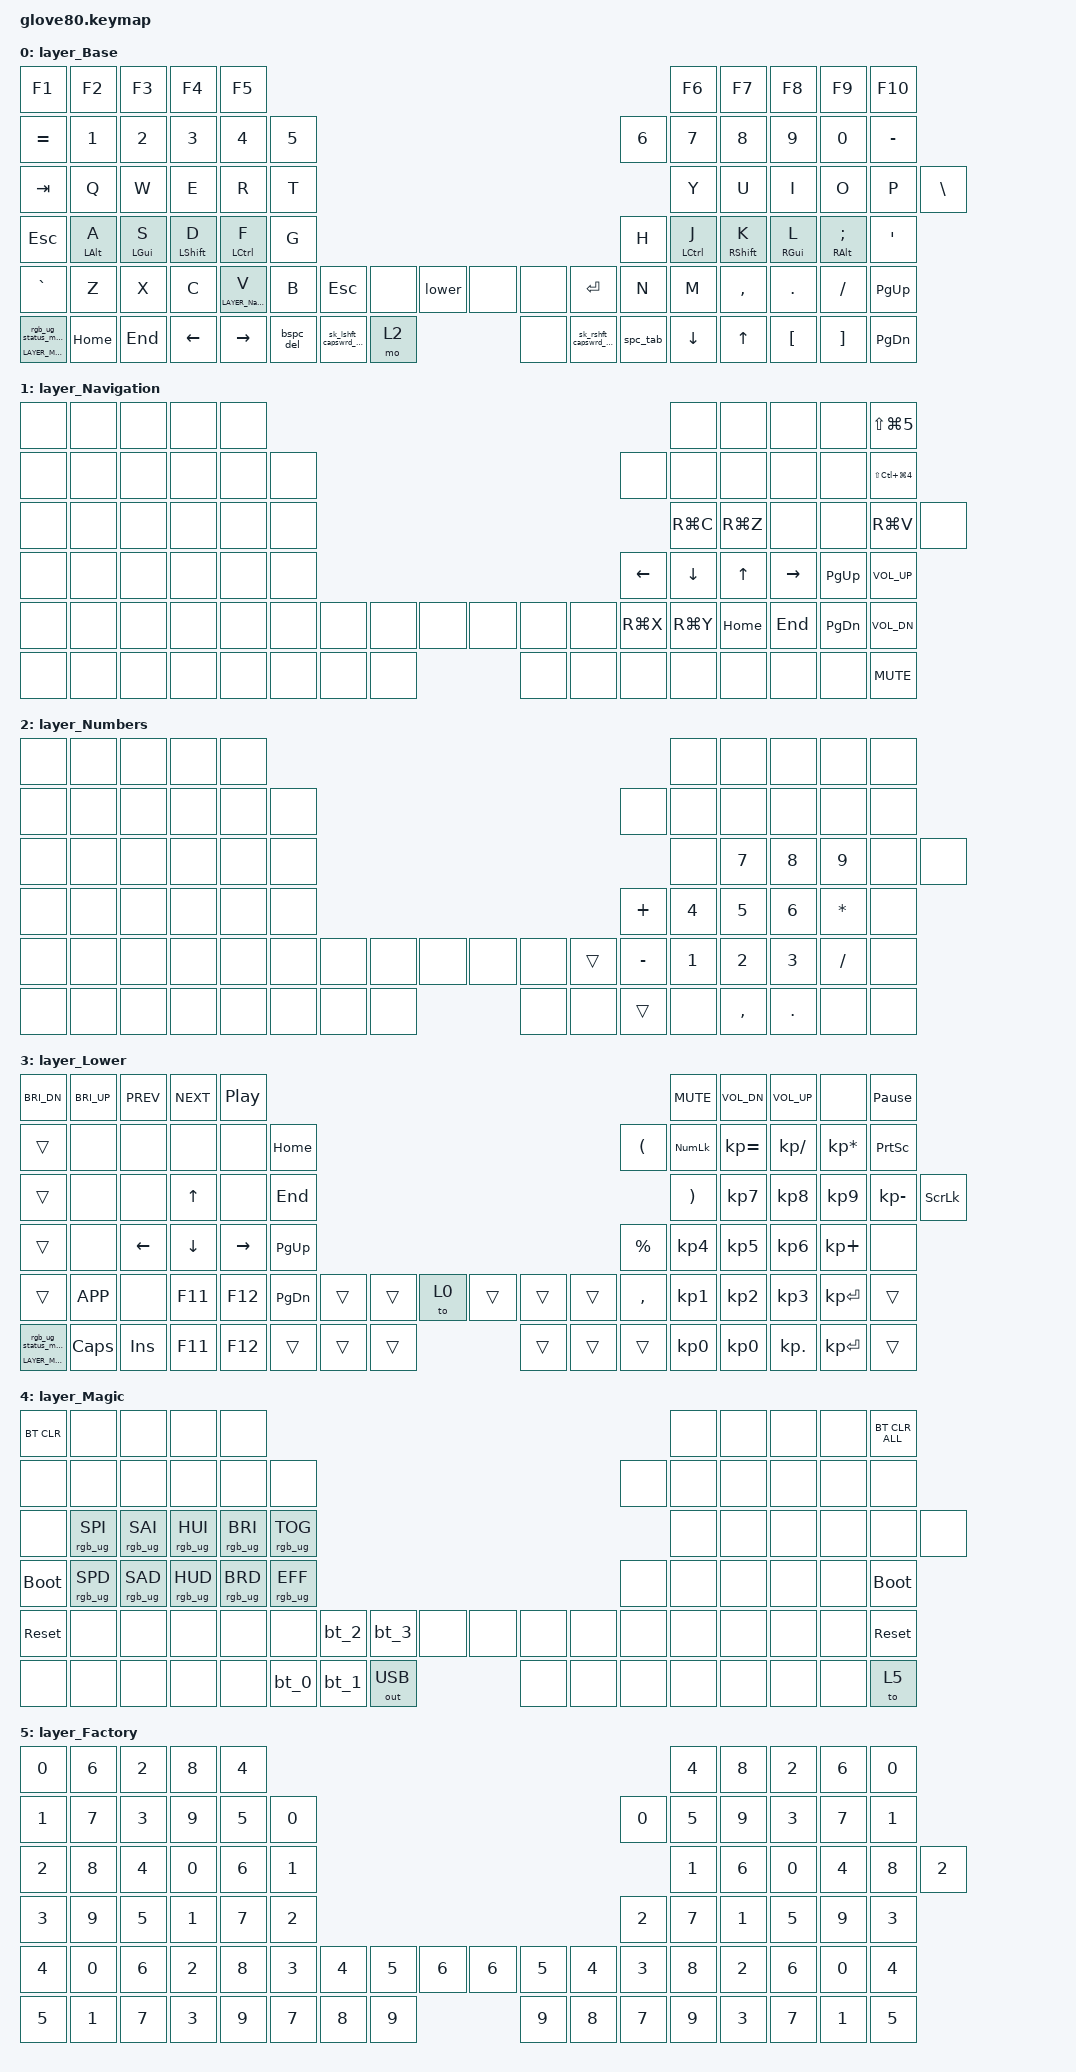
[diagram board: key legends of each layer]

/*
 * Copyright (c) 2020 The ZMK Contributors
 * Copyright (c) 2023 Innaworks Development Limited, trading as MoErgo
 *
 * SPDX-License-Identifier: MIT
 */


/* THIS FILE WAS GENERATED BY GLOVE80 LAYOUT EDITOR
 *
 * This file was generated automatically. You may or may not want to
 * edit it directly.
 */

#include <behaviors.dtsi>
/* Include all behavior includes needed */
#include <dt-bindings/zmk/outputs.h>
#include <dt-bindings/zmk/keys.h>
#include <dt-bindings/zmk/bt.h>
#include <dt-bindings/zmk/rgb.h>

/* Automatically generated layer name #define */
#define LAYER_Base 0
#define LAYER_Navigation 1
#define LAYER_Numbers 2
#define LAYER_Lower 3
#define LAYER_Magic 4
#define LAYER_Factory 5

/* To deal with the situation where there is no Lower layer, to keep &lower happy */
#ifndef LAYER_Lower
#define LAYER_Lower 0
#endif

/* Custom Device-tree */
//////////////////////////////////////////////////////////////////////////////
//
// ZMK Nodefree Config - Helper
// Urob - https://github.com/urob/zmk-nodefree-config// - https://github.com/urob/zmk-nodefree-config/blob/main/helper.h
//
//////////////////////////////////////////////////////////////////////////////
/*
 * helper.h
 *
 * Convenience macros simplifying ZMK's keymap configuration.
 * See https://github.com/urob/zmk-nodefree-config for documentation.
 */

#define ZMK_HELPER_STRINGIFY(x) #x

/* ZMK_BEHAVIOR */

#define ZMK_BEHAVIOR_CORE_caps_word       compatible = "zmk,behavior-caps-word";       #binding-cells = <0>
#define ZMK_BEHAVIOR_CORE_dynamic_macro   compatible = "zmk,behavior-dynamic-macro";   #binding-cells = <1>
#define ZMK_BEHAVIOR_CORE_hold_tap        compatible = "zmk,behavior-hold-tap";        #binding-cells = <2>
#define ZMK_BEHAVIOR_CORE_key_repeat      compatible = "zmk,behavior-key-repeat";      #binding-cells = <0>
#define ZMK_BEHAVIOR_CORE_macro           compatible = "zmk,behavior-macro";           #binding-cells = <0>
#define ZMK_BEHAVIOR_CORE_macro_one_param compatible = "zmk,behavior-macro-one-param"; #binding-cells = <1>
#define ZMK_BEHAVIOR_CORE_macro_two_param compatible = "zmk,behavior-macro-two-param"; #binding-cells = <2>
#define ZMK_BEHAVIOR_CORE_mod_morph       compatible = "zmk,behavior-mod-morph";       #binding-cells = <0>
#define ZMK_BEHAVIOR_CORE_sticky_key      compatible = "zmk,behavior-sticky-key";      #binding-cells = <1>
#define ZMK_BEHAVIOR_CORE_tap_dance       compatible = "zmk,behavior-tap-dance";       #binding-cells = <0>
#define ZMK_BEHAVIOR_CORE_tri_state       compatible = "zmk,behavior-tri-state";       #binding-cells = <0>

#define ZMK_BEHAVIOR(name, type, ...) \
    / { \
        behaviors { \
            name: name { \
                label = ZMK_HELPER_STRINGIFY(ZB_ ## name); \
                ZMK_BEHAVIOR_CORE_ ## type; \
                __VA_ARGS__ \
            }; \
        }; \
    };

/* ZMK_LAYER */

#define MACRO_CHOOSER3(_1, _2, _3, FUNC, ...) FUNC
#define ZMK_LAYER(...) MACRO_CHOOSER3(__VA_ARGS__, ZMK_LAYER_3_ARGS, ZMK_LAYER_2_ARGS)(__VA_ARGS__)
#define ZMK_LAYER_2_ARGS(name, layout) \
    / { \
        keymap { \
            compatible = "zmk,keymap"; \
            layer_ ## name { \
                label = ZMK_HELPER_STRINGIFY(name); \
                bindings = <layout>; \
            }; \
        }; \
    };
#define ZMK_LAYER_3_ARGS(name, layout, sensors) \
    / { \
        keymap { \
            compatible = "zmk,keymap"; \
            layer_ ## name { \
                label = ZMK_HELPER_STRINGIFY(name); \
                bindings = <layout>; \
                sensor-bindings = <sensors>; \
            }; \
        }; \
    };

/* ZMK_COMBOS */

#define ALL 0xff
#if !defined COMBO_TERM
    #define COMBO_TERM 30
#endif
#if !defined COMBO_HOOK
    #define COMBO_HOOK
#endif

#define MACRO_CHOOSER5(_1, _2, _3, _4, _5, FUNC, ...) FUNC
#define ZMK_COMBO(...) MACRO_CHOOSER5(__VA_ARGS__, ZMK_COMBO_5_ARGS, ZMK_COMBO_4_ARGS)(__VA_ARGS__)
#define ZMK_COMBO_4_ARGS(name, combo_bindings, keypos, combo_layers) \
    ZMK_COMBO_5_ARGS(name, combo_bindings, keypos, combo_layers, COMBO_TERM)
#define ZMK_COMBO_5_ARGS(name, combo_bindings, keypos, combo_layers, combo_timeout) \
    / { \
        combos { \
            compatible = "zmk,combos"; \
            combo_ ## name { \
                timeout-ms = <combo_timeout>; \
                bindings = <combo_bindings>; \
                key-positions = <keypos>; \
                layers = <combo_layers>; \
                COMBO_HOOK \
            }; \
        }; \
    };

/* ZMK_CONDITIONAL_LAYER */

#define ZMK_CONDITIONAL_LAYER(if_layers, then_layer) \
    / { \
        conditional_layers { \
            compatible = "zmk,conditional-layers"; \
            tri_layer { \
                if-layers = <if_layers>; \
                then-layer = <then_layer>; \
            }; \
        }; \
    };

/* ZMK_UNICODE */

#if !defined OS_UNICODE_LEAD
    #if HOST_OS == 2
        #define OS_UNICODE_LEAD &macro_press &kp LALT      // macOS/Windows-Alt-Codes
    #elif HOST_OS == 1
        #define OS_UNICODE_LEAD &macro_tap &kp LS(LC(U))   // Linux
    #else
        #define OS_UNICODE_LEAD &macro_tap &kp RALT &kp U  // Windows + WinCompose (default)
    #endif
#endif
#if !defined OS_UNICODE_TRAIL
    #if HOST_OS == 2
        #define OS_UNICODE_TRAIL &macro_release &kp LALT  // macOS/Windows-Alt-Codes
    #elif HOST_OS == 1
        #define OS_UNICODE_TRAIL &macro_tap &kp SPACE     // Linux
    #else
        #define OS_UNICODE_TRAIL &macro_tap &kp RET       // Windows + WinCompose (default)
    #endif
#endif

#define UC_MACRO(name, unicode_bindings) \
    / { \
        macros { \
            name: name { \
                compatible = "zmk,behavior-macro"; \
                label = ZMK_HELPER_STRINGIFY(UC_MACRO_ ## name); \
                wait-ms = <0>; \
                tap-ms = <0>; \
                #binding-cells = <0>; \
                bindings = <OS_UNICODE_LEAD>, <&macro_tap unicode_bindings>, <OS_UNICODE_TRAIL>; \
            }; \
        }; \
    };

#define UC_MODMORPH(name, uc_binding, shifted_uc_binding) \
    / { \
        behaviors { \
            name: name { \
                compatible = "zmk,behavior-mod-morph"; \
                label = ZMK_HELPER_STRINGIFY(UC_MORPH_ ## name); \
                #binding-cells = <0>; \
                bindings = <uc_binding>, <shifted_uc_binding>; \
                mods = <(MOD_LSFT|MOD_RSFT)>; \
            }; \
        }; \
    };

#define ZMK_UNICODE_SINGLE(name, L0, L1, L2, L3) \
    UC_MACRO(name ## _lower, &kp L0 &kp L1 &kp L2 &kp L3) \
    UC_MODMORPH(name, &name ## _lower, &none)

#define ZMK_UNICODE_PAIR(name, L0, L1, L2, L3, U0, U1, U2, U3) \
    UC_MACRO(name ## _lower, &kp L0 &kp L1 &kp L2 &kp L3) \
    UC_MACRO(name ## _upper, &kp U0 &kp U1 &kp U2 &kp U3) \
    UC_MODMORPH(name, &name ## _lower, &name ## _upper)

// END OF ZMK Nodefree Config - Helper //////////////////////////////////////////////////////////////////////////////

//////////////////////////////////////////////////////////////////////////////
//
// New Behaviors
//
//////////////////////////////////////////////////////////////////////////////
ZMK_BEHAVIOR(skq, sticky_key,
    bindings = <&kp>;
    release-after-ms = <1000>;
    quick-release;
)

//////////////////////////////////////////////////////////////////////////////
//
// Combos Macros (for defining Symbols combos)
//
//////////////////////////////////////////////////////////////////////////////
#define COMBO_SLOW 50
#define COMBO_NORM 35
#define COMBO_FAST 20

/* Symbols Combos ****************************************/ 
#define TWOK_COMBO(name, keypos, bind_key, timeout) \
    ZMK_COMBO(name, &kp bind_key, keypos (keypos+1), ALL, timeout)

#define TWOK_COMBOEX(name, keypos, bindings, timeout) \
    ZMK_COMBO(name, bindings, keypos (keypos+1), ALL, timeout)
 
#define THREEK_COMBOEX(name, keypos, bindings, timeout) \
    ZMK_COMBO(name, bindings, keypos (keypos+1) (keypos+2), ALL, timeout)

#define TWOK_COMBO_SHIFTED(name, key_pos, base_key, shifted_key, timeout) \
    TWOK_COMBOEX(name, key_pos, &name, timeout) \
    ZMK_BEHAVIOR(name, mod_morph, \
        bindings = <&kp base_key>, <&kp shifted_key>; \
        mods = <(MOD_LSFT|MOD_RSFT)>; \
    )
 
#define TWOK_COMBOEX_SHIFTED(name, key_pos, base_bind, shifted_bind, timeout) \
    TWOK_COMBOEX(name, key_pos, &name, timeout) \
    ZMK_BEHAVIOR(name, mod_morph, \
        bindings = <&base_bind>, <&shifted_bind>; \
        mods = <(MOD_LSFT|MOD_RSFT)>; \
    )

// END OF Combos Definition Macros (for Symbols) //////////////////////////////////////////////////////////////////////////////

    //
    // Glove80 key positions index for positional hold-tap
    // - https://discord.com/channels/877392805654306816/937645688244826154/1066713913351221248
    // - https://media.discordapp.net/attachments/937645688244826154/1066713913133121556/image.png
    //
    // |------------------------|------------------------|
    // | LEFT_HAND_KEYS         |        RIGHT_HAND_KEYS |
    // |                        |                        |
    // |  0  1  2  3  4         |          5  6  7  8  9 |
    // | 10 11 12 13 14 15      |      16 17 18 19 20 21 |
    // | 22 23 24 25 26 27      |      28 29 30 31 32 33 |
    // | 34 35 36 37 38 39      |      40 41 42 43 44 45 |
    // | 46 47 48 49 50 51      |      58 59 60 61 62 63 |
    // | 64 65 66 67 68         |         75 76 77 78 79 |
    // |                69 52   |   57 74                |
    // |                 70 53  |  56 73                 |
    // |                  71 54 | 55 72                  |
    // |------------------------|------------------------|
    //
    #define LEFT_HAND_KEYS      \
          0  1  2  3  4         \
         10 11 12 13 14 15      \
         22 23 24 25 26 27      \
         34 35 36 37 38 39      \
         46 47 48 49 50 51      \
         64 65 66 67 68
    #define RIGHT_HAND_KEYS     \
                                           5  6  7  8  9 \
                                       16 17 18 19 20 21 \
                                       28 29 30 31 32 33 \
                                       40 41 42 43 44 45 \
                                       58 59 60 61 62 63 \
                                          75 76 77 78 79
    #define THUMB_KEYS          \
                        69 52       57 74                \
                         70 53     56 73                 \
                          71 54   55 72



/* Glove80 system behavior & macros */
/ {
    behaviors {
        // For the "layer" key, it'd nice to be able to use it as either a shift or a toggle.
        // Configure it as a tap dance, so the first tap (or hold) is a &mo and the second tap is a &to
        lower: lower {
            compatible = "zmk,behavior-tap-dance";
            label = "LAYER_TAP_DANCE";
            #binding-cells = <0>;
            tapping-term-ms = <200>;
            bindings = <&mo LAYER_Lower>, <&to LAYER_Lower>;
        };
    };
};

/ {
    macros {
        rgb_ug_status_macro: rgb_ug_status_macro {
            label = "RGB_UG_STATUS";
            compatible = "zmk,behavior-macro";
            #binding-cells = <0>;
            bindings
                = <&rgb_ug RGB_STATUS>;
        };
    };
};


/ {
#ifdef BT_DISC_CMD
    behaviors {
        bt_0: bt_0 {
            compatible = "zmk,behavior-tap-dance";
            label = "BT_0";
            #binding-cells = <0>;
            tapping-term-ms = <200>;
            bindings = <&bt_select_0>, <&bt BT_DISC 0>;
        };
        bt_1: bt_1 {
            compatible = "zmk,behavior-tap-dance";
            label = "BT_1";
            #binding-cells = <0>;
            tapping-term-ms = <200>;
            bindings = <&bt_select_1>, <&bt BT_DISC 1>;
        };
        bt_2: bt_2 {
            compatible = "zmk,behavior-tap-dance";
            label = "BT_2";
            #binding-cells = <0>;
            tapping-term-ms = <200>;
            bindings = <&bt_select_2>, <&bt BT_DISC 2>;
        };
        bt_3: bt_3 {
            compatible = "zmk,behavior-tap-dance";
            label = "BT_3";
            #binding-cells = <0>;
            tapping-term-ms = <200>;
            bindings = <&bt_select_3>, <&bt BT_DISC 3>;
        };
    };
    macros {
        bt_select_0: bt_select_0 {
            label = "BT_SELECT_0";
            compatible = "zmk,behavior-macro";
            #binding-cells = <0>;
            bindings
                = <&out OUT_BLE>,
                  <&bt BT_SEL 0>;
        };
        bt_select_1: bt_select_1 {
            label = "BT_SELECT_1";
            compatible = "zmk,behavior-macro";
            #binding-cells = <0>;
            bindings
                = <&out OUT_BLE>,
                  <&bt BT_SEL 1>;
        };
        bt_select_2: bt_select_2 {
            label = "BT_SELECT_2";
            compatible = "zmk,behavior-macro";
            #binding-cells = <0>;
            bindings
                = <&out OUT_BLE>,
                  <&bt BT_SEL 2>;
        };
        bt_select_3: bt_select_3 {
            label = "BT_SELECT_3";
            compatible = "zmk,behavior-macro";
            #binding-cells = <0>;
            bindings
                = <&out OUT_BLE>,
                  <&bt BT_SEL 3>;
        };
    };
#else
    macros {
        bt_0: bt_0 {
            label = "BT_0";
            compatible = "zmk,behavior-macro";
            #binding-cells = <0>;
            bindings
                = <&out OUT_BLE>,
                  <&bt BT_SEL 0>;
        };
        bt_1: bt_1 {
            label = "BT_1";
            compatible = "zmk,behavior-macro";
            #binding-cells = <0>;
            bindings
                = <&out OUT_BLE>,
                  <&bt BT_SEL 1>;
        };
        bt_2: bt_2 {
            label = "BT_2";
            compatible = "zmk,behavior-macro";
            #binding-cells = <0>;
            bindings
                = <&out OUT_BLE>,
                  <&bt BT_SEL 2>;
        };
        bt_3: bt_3 {
            label = "BT_3";
            compatible = "zmk,behavior-macro";
            #binding-cells = <0>;
            bindings
                = <&out OUT_BLE>,
                  <&bt BT_SEL 3>;
        };
    };
#endif
};

/ {
    behaviors {
        magic: magic {
            compatible = "zmk,behavior-hold-tap";
            label = "MAGIC_HOLD_TAP";
            #binding-cells = <2>;
            flavor = "tap-preferred";
            tapping-term-ms = <200>;
            bindings = <&mo>, <&rgb_ug_status_macro>;
        };
    };
};

/* #define for key positions */
#define POS_LH_T1 52
#define POS_LH_T2 53
#define POS_LH_T3 54
#define POS_LH_T4 69
#define POS_LH_T5 70
#define POS_LH_T6 71
#define POS_LH_C1R2 15
#define POS_LH_C1R3 27
#define POS_LH_C1R4 39
#define POS_LH_C1R5 51
#define POS_LH_C2R1 4
#define POS_LH_C2R2 14
#define POS_LH_C2R3 26
#define POS_LH_C2R4 38
#define POS_LH_C2R5 50
#define POS_LH_C2R6 68
#define POS_LH_C3R1 3
#define POS_LH_C3R2 13
#define POS_LH_C3R3 25
#define POS_LH_C3R4 37
#define POS_LH_C3R5 49
#define POS_LH_C3R6 67
#define POS_LH_C4R1 2
#define POS_LH_C4R2 12
#define POS_LH_C4R3 24
#define POS_LH_C4R4 36
#define POS_LH_C4R5 48
#define POS_LH_C4R6 66
#define POS_LH_C5R1 1
#define POS_LH_C5R2 11
#define POS_LH_C5R3 23
#define POS_LH_C5R4 35
#define POS_LH_C5R5 47
#define POS_LH_C5R6 65
#define POS_LH_C6R1 0
#define POS_LH_C6R2 10
#define POS_LH_C6R3 22
#define POS_LH_C6R4 34
#define POS_LH_C6R5 46
#define POS_LH_C6R6 64
#define POS_RH_T1 57
#define POS_RH_T2 56
#define POS_RH_T3 55
#define POS_RH_T4 74
#define POS_RH_T5 73
#define POS_RH_T6 72
#define POS_RH_C1R2 16
#define POS_RH_C1R3 28
#define POS_RH_C1R4 40
#define POS_RH_C1R5 58
#define POS_RH_C2R1 5
#define POS_RH_C2R2 17
#define POS_RH_C2R3 29
#define POS_RH_C2R4 41
#define POS_RH_C2R5 59
#define POS_RH_C2R6 75
#define POS_RH_C3R1 6
#define POS_RH_C3R2 18
#define POS_RH_C3R3 30
#define POS_RH_C3R4 42
#define POS_RH_C3R5 60
#define POS_RH_C3R6 76
#define POS_RH_C4R1 7
#define POS_RH_C4R2 19
#define POS_RH_C4R3 31
#define POS_RH_C4R4 43
#define POS_RH_C4R5 61
#define POS_RH_C4R6 77
#define POS_RH_C5R1 8
#define POS_RH_C5R2 20
#define POS_RH_C5R3 32
#define POS_RH_C5R4 44
#define POS_RH_C5R5 62
#define POS_RH_C5R6 78
#define POS_RH_C6R1 9
#define POS_RH_C6R2 21
#define POS_RH_C6R3 33
#define POS_RH_C6R4 45
#define POS_RH_C6R5 63
#define POS_RH_C6R6 79

/* Custom Defined Behaviors */
/ {
}; // <-- Closing brackets to include content at root, ZMK Nodefree requires being at the root for now (may be possible to alter it to not)

//////////////////////////////////////////////////////////////////////////////
//
// Main Thumbs Clusters Definition
//
//////////////////////////////////////////////////////////////////////////////

ZMK_BEHAVIOR(bspc_del, mod_morph,
        bindings = <&kp BACKSPACE>, <&kp DELETE>;
        mods = <(MOD_LSFT|MOD_RSFT)>;
)


// hold: left-shift | tap: sticky shift | right-shift+tap: esc | double-tap: caps_word | triple-tap: cancel
ZMK_BEHAVIOR(sk_lshft_capswrd_td, tap_dance,
    tapping-term-ms = <250>;
    bindings = <&skq LSHIFT>, <&caps_word>, <&kp K_CANCEL>;
)
ZMK_BEHAVIOR(sk_lshft_capswrd_esc, mod_morph,
        bindings = <&sk_lshft_capswrd_td>, <&kp ESC>;
        mods = <(MOD_RSFT)>; // On purpose only right shift
        keep-mods = <0>;
)


ZMK_BEHAVIOR(sk_rshft_capswrd_td, tap_dance,
    tapping-term-ms = <250>;
    bindings = <&skq RSHIFT>, <&caps_word>, <&kp K_CANCEL>;
)
ZMK_BEHAVIOR(sk_rshft_capswrd_right, mod_morph,
        bindings = <&sk_rshft_capswrd_td>, <&kp RIGHT>;
        mods = <(MOD_LSFT)>; // On purpose only left shift
)
/* Caps word and Num word functionality *************************************************/ 
&caps_word {
    continue-list = <UNDERSCORE MINUS BSPC DEL>;
};


ZMK_BEHAVIOR(spc_tab, mod_morph,
        bindings = <&kp SPACE>, <&kp TAB>;
        mods = <(MOD_LSFT)>;
        keep-mods = <0>;
)

// End of Main Thumbs Clusters Definition //////////////////////////////////////////////////////////////////////////////


//////////////////////////////////////////////////////////////////////////////
//
// Symbols Macros Definition
//
//////////////////////////////////////////////////////////////////////////////

TWOK_COMBO_SHIFTED(ampersand_caret, POS_RH_C1R4, AMPS, CARET, COMBO_NORM)
TWOK_COMBO_SHIFTED(hash_dollar, POS_LH_C3R3, HASH, DOLLAR, COMBO_NORM)
TWOK_COMBO_SHIFTED(equal_percent, POS_LH_C3R4, EQUAL, PERCENT, COMBO_NORM)
TWOK_COMBO_SHIFTED(under_pipe, POS_RH_C2R5, UNDER, PIPE, COMBO_NORM)
TWOK_COMBO_SHIFTED(minus_plus, POS_LH_C4R4, MINUS, PLUS, COMBO_NORM)
TWOK_COMBO_SHIFTED(quote_dblquote, POS_RH_C3R5, SQT, DQT, COMBO_NORM)
TWOK_COMBO_SHIFTED(exclamation_atsign, POS_LH_C4R3, EXCLAMATION, AT_SIGN, COMBO_NORM)
TWOK_COMBO_SHIFTED(grave_tilde, POS_LH_C4R5, GRAVE, TILDE, COMBO_NORM)
TWOK_COMBO_SHIFTED(backslash_asterisk, POS_LH_C3R5, BACKSLASH, ASTRK, COMBO_NORM)

/* Two colons with shifted semicolon combo **************************************** */
TWOK_COMBOEX(combo_two_colons, POS_RH_C4R4, &two_colons_semi , COMBO_NORM)
ZMK_BEHAVIOR(two_colons, macro,
    bindings = <&macro_tap &kp COLON &kp COLON>;
)
ZMK_BEHAVIOR(two_colons_semi, mod_morph,
    bindings = <&two_colons>, <&kp SEMI>; // using grave to get semicolon in hebrew
    mods = <(MOD_LSFT|MOD_RSFT)>;
)

/* Two key combo greater/less than with brackets **************************************** */ 
TWOK_COMBO_SHIFTED(lt_lbkt, POS_RH_C2R3, LT, LBKT, COMBO_NORM)
TWOK_COMBO_SHIFTED(gt_rbkt, POS_RH_C3R3, GT, RBKT, COMBO_NORM)

/* Three key combo greater/less than with brackets **************************************** */ 
THREEK_COMBOEX(combo_both_gtlt_brackets, POS_RH_C2R3, &both_gtlt_brackets, COMBO_NORM)
ZMK_BEHAVIOR(both_gtlt_brackets, mod_morph,
    bindings = <&macro_both_gtlt>, <&macro_both_brackets>;
    mods = <(MOD_LSFT|MOD_RSFT)>;
)
ZMK_BEHAVIOR(macro_both_gtlt, macro,
    bindings = <&macro_tap &kp LT &kp GT>;
)
ZMK_BEHAVIOR(macro_both_brackets, macro,
    bindings = <&macro_tap &kp LBKT &kp RBKT>;
)

/* Two key combo parenthesis with braces **************************************** */ 
TWOK_COMBO_SHIFTED(left_parenthesis_brace, POS_RH_C2R4, LPAR, LBRC, COMBO_FAST)
TWOK_COMBO_SHIFTED(right_parenthesis_brace, POS_RH_C3R4, RPAR, RBRC, COMBO_NORM)

/* Three key parenthesis with braces **************************************** */
THREEK_COMBOEX(combo_both_parenthesis, POS_RH_C2R4, &both_parenthesis_braces, COMBO_NORM)
ZMK_BEHAVIOR(both_parenthesis_braces, mod_morph,
    bindings = <&macro_both_parenthesis>, <&macro_both_braces>;
    mods = <(MOD_LSFT|MOD_RSFT)>;
)
ZMK_BEHAVIOR(macro_both_parenthesis, macro,
    bindings = <&macro_tap &kp LPAR &kp RPAR>;
)
ZMK_BEHAVIOR(macro_both_braces, macro,
    bindings = <&macro_tap &kp LBRC &kp RBRC>;
)
 
/* Three key '--' **************************************** */
THREEK_COMBOEX(combo_double_minus, POS_LH_C4R4, &double_minus_double_plus, COMBO_NORM)
ZMK_BEHAVIOR(double_minus_double_plus, mod_morph,
    bindings = <&macro_double_minus>, <&macro_double_plus>;
    mods = <(MOD_LSFT|MOD_RSFT)>;
)
ZMK_BEHAVIOR(macro_double_minus, macro,
    bindings = <&macro_tap &kp KP_MINUS &kp KP_MINUS>;
)
ZMK_BEHAVIOR(macro_double_plus, macro,
    bindings = <&macro_tap &kp EQUAL &kp EQUAL>;
)

// END OF Symbols Macros Definition //////////////////////////////////////////////////////////////////////////////



//////////////////////////////////////////////////////////////////////////////
//
// Home Row Mods Behaviors
//
//////////////////////////////////////////////////////////////////////////////

#define QUICK_TAP_MS 175

#define KEYS_R RIGHT_HAND_KEYS
#define KEYS_L LEFT_HAND_KEYS
#define THUMBS THUMB_KEYS

ZMK_BEHAVIOR(hml, hold_tap,  // left-hand HRMs
    flavor = "balanced";
    tapping-term-ms = <280>;
    quick-tap-ms = <QUICK_TAP_MS>;
    require-prior-idle-ms = <150>;        // requires PR #1387
    bindings = <&kp>, <&kp>;
    hold-trigger-key-positions = <KEYS_R THUMBS>;
    hold-trigger-on-release;            // requires PR #1423
)

// this is same as hml above except it doesn't use the hold-trigger-on-release for alt which is used with left hand keys
// used in Left Alt
ZMK_BEHAVIOR(hmlnp, hold_tap,  // left-hand HRMs
    flavor = "balanced";
    tapping-term-ms = <280>;
    quick-tap-ms = <QUICK_TAP_MS>;
    require-prior-idle-ms = <150>;        // requires PR #1387
    bindings = <&kp>, <&kp>;
    /* hold-trigger-key-positions = <KEYS_R THUMBS>; */
    hold-trigger-on-release;            // requires PR #1423
)

// here we use tap-unless-interrupted and not balanced because these are used for arrow keys and I want autorepeat of the arrow after waitig a while
// so the key is considered an wrrow key after the tapping-term-ms
ZMK_BEHAVIOR(hmr, hold_tap,  // right-hand HRMs
    flavor = "tap-unless-interrupted";
    tapping-term-ms = <650>;
    quick-tap-ms = <QUICK_TAP_MS>;
    require-prior-idle-ms = <150>;        // requires PR #1387
    bindings = <&kp>, <&kp>;
    hold-trigger-key-positions = <KEYS_L THUMBS>;
    hold-trigger-on-release;            // requires PR #1423
)

// replicate left-hand HRM for momentary layer
// used for NUM/NAV layer modifiers 
ZMK_BEHAVIOR(hml_ml, hold_tap,
    flavor = "balanced";
    tapping-term-ms = <280>;
    quick-tap-ms = <QUICK_TAP_MS>;
    require-prior-idle-ms = <150>;
    bindings = <&mo>, <&kp>;
    hold-trigger-key-positions = <KEYS_R THUMBS>; //?
    hold-trigger-on-release; //?
)

// END OF Home Row Mods Behaviors
//////////////////////////////////////////////////////////////////////////////

/ { // <-- Closing section in root


};

/* Automatically generated macro definitions */
/ {
    macros {
    
    };
};

/* Automatically generated keymap */
/ {
    keymap {
        compatible = "zmk,keymap";


        layer_Base {
            bindings = <
               &kp F1         &kp F2       &kp F3        &kp F4                      &kp F5                                                                                                             &kp F6        &kp F7       &kp F8          &kp F9    &kp F10
            &kp EQUAL         &kp N1       &kp N2        &kp N3                      &kp N4  &kp N5                                                                                       &kp N6        &kp N7        &kp N8       &kp N9          &kp N0  &kp MINUS
              &kp TAB          &kp Q        &kp W         &kp E                       &kp R   &kp T                                                                                        &kp Y         &kp U         &kp I        &kp O           &kp P   &kp BSLH
              &kp ESC  &hmlnp LALT A  &hml LGUI S  &hml LSHFT D                &hml LCTRL F   &kp G                                                                                        &kp H  &hmr LCTRL J  &hmr RSHFT K  &hmr RGUI L  &hmr RALT SEMI    &kp SQT
            &kp GRAVE          &kp Z        &kp X         &kp C  &hml_ml LAYER_Navigation V   &kp B    &kp ESC                  &none  &lower   &none                    &none   &kp RET   &kp N         &kp M     &kp COMMA      &kp DOT        &kp FSLH  &kp PG_UP
 &magic LAYER_Magic 0       &kp HOME      &kp END      &kp LEFT                   &kp RIGHT          &bspc_del  &sk_lshft_capswrd_esc   &mo 2   &none  &sk_rshft_capswrd_right  &spc_tab              &kp DOWN        &kp UP     &kp LBKT        &kp RBKT  &kp PG_DN
            >;
        };

        layer_Navigation {
            bindings = <
  &none   &none   &none   &none   &none                                                                         &none     &none      &none      &none      &kp LS(LG(N5))
  &none   &none   &none   &none   &none   &none                                                      &none      &none     &none      &none      &none  &kp LS(LC(LG(N4)))
  &none   &none   &none   &none   &none   &none                                                  &kp RG(C)  &kp RG(Z)     &none      &none  &kp RG(V)               &none
  &none   &none   &none   &none   &none   &none                                                   &kp LEFT   &kp DOWN    &kp UP  &kp RIGHT  &kp PG_UP        &kp K_VOL_UP
  &none   &none   &none   &none   &none   &none   &none   &none   &none   &none   &none   &none  &kp RG(X)  &kp RG(Y)  &kp HOME    &kp END  &kp PG_DN        &kp K_VOL_DN
  &none   &none   &none   &none   &none           &none   &none   &none   &none   &none   &none                 &none     &none      &none      &none          &kp C_MUTE
            >;
        };

        layer_Numbers {
            bindings = <
  &none   &none   &none   &none   &none                                                                      &none      &none    &none     &none   &none
  &none   &none   &none   &none   &none   &none                                                      &none   &none      &none    &none     &none   &none
  &none   &none   &none   &none   &none   &none                                                      &none  &kp N7     &kp N8   &kp N9     &none   &none
  &none   &none   &none   &none   &none   &none                                                   &kp PLUS  &kp N4     &kp N5   &kp N6  &kp STAR   &none
  &none   &none   &none   &none   &none   &none   &none   &none   &none   &none   &none  &trans  &kp MINUS  &kp N1     &kp N2   &kp N3  &kp FSLH   &none
  &none   &none   &none   &none   &none           &none   &none   &none   &none   &none  &trans              &none  &kp COMMA  &kp DOT     &none   &none
            >;
        };

        layer_Lower {
            bindings = <
         &kp C_BRI_DN  &kp C_BRI_UP      &kp C_PREV      &kp C_NEXT         &kp C_PP                                                                                    &kp C_MUTE  &kp C_VOL_DN  &kp C_VOL_UP            &none  &kp PAUSE_BREAK
               &trans         &none           &none           &none            &none   &kp HOME                                                   &kp LEFT_PARENTHESIS  &kp KP_NUM  &kp KP_EQUAL  &kp KP_SLASH  &kp KP_MULTIPLY  &kp PRINTSCREEN
               &trans         &none           &none    &kp UP_ARROW            &none    &kp END                                                  &kp RIGHT_PARENTHESIS   &kp KP_N7     &kp KP_N8     &kp KP_N9     &kp KP_MINUS   &kp SCROLLLOCK
               &trans         &none  &kp LEFT_ARROW  &kp DOWN_ARROW  &kp RIGHT_ARROW  &kp PG_UP                                                            &kp PERCENT   &kp KP_N4     &kp KP_N5     &kp KP_N6      &kp KP_PLUS            &none
               &trans     &kp K_APP           &none         &kp F11          &kp F12  &kp PG_DN  &trans  &trans   &to 0  &trans  &trans  &trans              &kp COMMA   &kp KP_N1     &kp KP_N2     &kp KP_N3     &kp KP_ENTER           &trans
 &magic LAYER_Magic 0      &kp CAPS         &kp INS         &kp F11          &kp F12             &trans  &trans  &trans  &trans  &trans  &trans                          &kp KP_N0     &kp KP_N0    &kp KP_DOT     &kp KP_ENTER           &trans
            >;
        };

        layer_Magic {
            bindings = <
  &bt BT_CLR            &none            &none            &none            &none                                                                                  &none   &none   &none   &none  &bt BT_CLR_ALL
       &none            &none            &none            &none            &none            &none                                                         &none   &none   &none   &none   &none           &none
       &none  &rgb_ug RGB_SPI  &rgb_ug RGB_SAI  &rgb_ug RGB_HUI  &rgb_ug RGB_BRI  &rgb_ug RGB_TOG                                                         &none   &none   &none   &none   &none           &none
 &bootloader  &rgb_ug RGB_SPD  &rgb_ug RGB_SAD  &rgb_ug RGB_HUD  &rgb_ug RGB_BRD  &rgb_ug RGB_EFF                                                         &none   &none   &none   &none   &none     &bootloader
  &sys_reset            &none            &none            &none            &none            &none   &bt_2   &bt_3         &none   &none   &none   &none   &none   &none   &none   &none   &none      &sys_reset
       &none            &none            &none            &none            &none                    &bt_0   &bt_1  &out OUT_USB   &none   &none   &none           &none   &none   &none   &none           &to 5
            >;
        };

        layer_Factory {
            bindings = <
 &kp NUMBER_0  &kp NUMBER_6  &kp NUMBER_2  &kp NUMBER_8  &kp NUMBER_4                                                                                                                  &kp NUMBER_4  &kp NUMBER_8  &kp NUMBER_2  &kp NUMBER_6  &kp NUMBER_0
 &kp NUMBER_1  &kp NUMBER_7  &kp NUMBER_3  &kp NUMBER_9  &kp NUMBER_5  &kp NUMBER_0                                                                                      &kp NUMBER_0  &kp NUMBER_5  &kp NUMBER_9  &kp NUMBER_3  &kp NUMBER_7  &kp NUMBER_1
 &kp NUMBER_2  &kp NUMBER_8  &kp NUMBER_4  &kp NUMBER_0  &kp NUMBER_6  &kp NUMBER_1                                                                                      &kp NUMBER_1  &kp NUMBER_6  &kp NUMBER_0  &kp NUMBER_4  &kp NUMBER_8  &kp NUMBER_2
 &kp NUMBER_3  &kp NUMBER_9  &kp NUMBER_5  &kp NUMBER_1  &kp NUMBER_7  &kp NUMBER_2                                                                                      &kp NUMBER_2  &kp NUMBER_7  &kp NUMBER_1  &kp NUMBER_5  &kp NUMBER_9  &kp NUMBER_3
 &kp NUMBER_4  &kp NUMBER_0  &kp NUMBER_6  &kp NUMBER_2  &kp NUMBER_8  &kp NUMBER_3  &kp NUMBER_4  &kp NUMBER_5  &kp NUMBER_6  &kp NUMBER_6  &kp NUMBER_5  &kp NUMBER_4  &kp NUMBER_3  &kp NUMBER_8  &kp NUMBER_2  &kp NUMBER_6  &kp NUMBER_0  &kp NUMBER_4
 &kp NUMBER_5  &kp NUMBER_1  &kp NUMBER_7  &kp NUMBER_3  &kp NUMBER_9                &kp NUMBER_7  &kp NUMBER_8  &kp NUMBER_9  &kp NUMBER_9  &kp NUMBER_8  &kp NUMBER_7                &kp NUMBER_9  &kp NUMBER_3  &kp NUMBER_7  &kp NUMBER_1  &kp NUMBER_5
            >;
        };

    };
};
